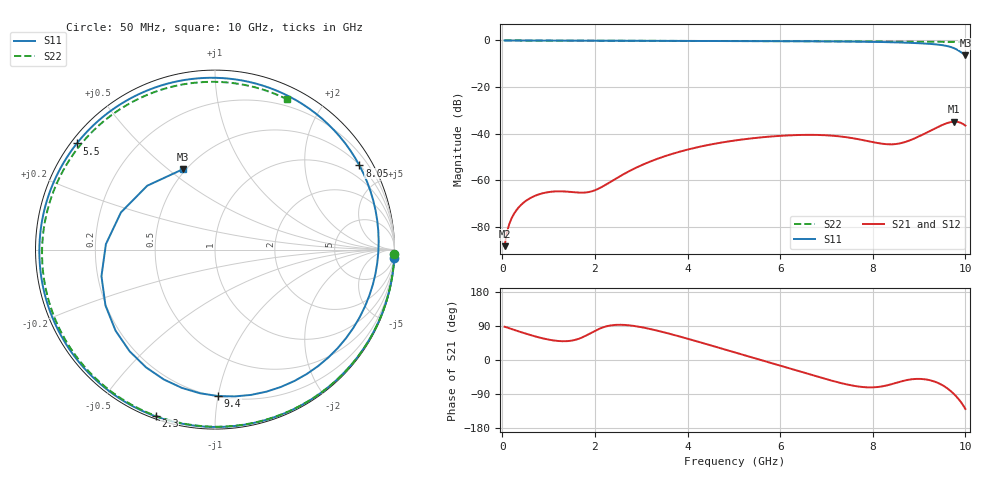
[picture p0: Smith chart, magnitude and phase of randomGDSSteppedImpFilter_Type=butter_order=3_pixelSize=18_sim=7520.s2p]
! freq	dB(S11)	phase(S11)	dB(S12)	phase(S12)
!  dB(S21)	phase(S21)	dB(S22)	phase(S22)
!S-par simulation data
#  GHz  S  DB  R 50
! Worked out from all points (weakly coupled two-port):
!   200 points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, 50 MHz to 10 GHz, reference 50 ohm
!   highest |S21| = -34.91 dB at 9.75 GHz (marker M1); lowest = -88.4 dB at 50 MHz (marker M2)
!   lowest |S11| = -6.3 dB at 10 GHz (marker M3), VSWR 2.86, Z = 24.1 + j28.1 ohm
!   |S11| at or under -10 dB: nowhere
!   |S22| runs from -0.6 to 0.0 dB; largest |S21 - S12| = 0
!   S11 on the Smith chart (normalised r, x): 50 MHz: 0, -42; 2.3 GHz: 0.01, -0.70; 5.5 GHz: 0.02, +0.34; 8.05 GHz: 0.51, +3.64; 9.4 GHz: 0.20, -1.00; 10 GHz: 0.48, +0.56
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0.05  -0.00 -2.7  -88.41 87.9  -88.41 87.9  -0.00 -1.5
0.15  -0.01 -8.1  -78.92 83.8  -78.92 83.8  -0.01 -4.6
0.4  -0.03 -21.4  -70.77 73.7  -70.77 73.7  -0.02 -12.1
0.7  -0.05 -37.0  -66.81 62.6  -66.81 62.6  -0.03 -21.1
1.2  -0.07 -61.9  -64.83 50.2  -64.83 50.2  -0.04 -35.9
1.75  -0.10 -86.9  -65.40 60.9  -65.40 60.9  -0.07 -51.8
2.3  -0.12 -109.6  -61.22 90.3  -61.22 90.3  -0.09 -67.3
3.4  -0.15 -149.3  -50.50 75.9  -50.50 75.9  -0.13 -97.2
4.2  -0.18 -175.4  -45.96 49.3  -45.96 49.3  -0.16 -118.1
5.05  -0.23 157.4  -42.90 19.0  -42.90 19.0  -0.21 -140.0
5.5  -0.26 142.5  -41.83 2.9  -41.83 2.9  -0.24 -151.6
6.7  -0.36 98.1  -40.57 -40.2  -40.57 -40.2  -0.33 176.2
7.4  -0.45 66.5  -41.50 -63.4  -41.50 -63.4  -0.40 155.9
8.05  -0.62 30.2  -43.87 -71.9  -43.87 -71.9  -0.46 135.6
8.35  -0.74 10.2  -44.63 -65.7  -44.63 -65.7  -0.49 125.7
8.9  -1.10 -34.1  -42.12 -50.1  -42.12 -50.1  -0.55 106.4
9.2  -1.42 -64.4  -39.23 -52.5  -39.23 -52.5  -0.57 95.4
9.4  -1.77 -89.0  -37.24 -60.1  -37.24 -60.1  -0.59 87.8
9.6  -2.38 -120.4  -35.55 -74.0  -35.55 -74.0  -0.61 80.1
9.75  -3.29 -153.0  -34.91 -89.5  -34.91 -89.5  -0.62 74.2
9.9  -4.98 158.4  -35.40 -110.4  -35.40 -110.4  -0.64 68.3
10  -6.33 111.9  -36.58 -129.4  -36.58 -129.4  -0.64 64.4
